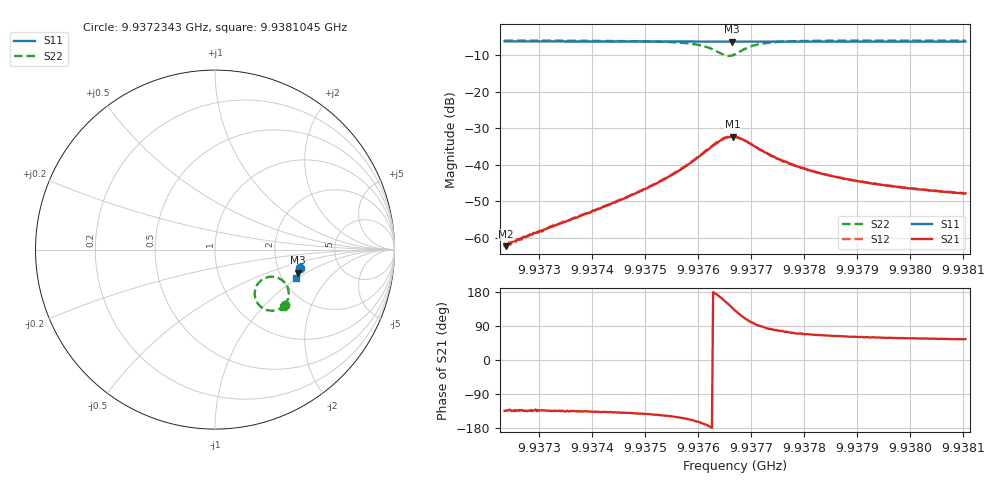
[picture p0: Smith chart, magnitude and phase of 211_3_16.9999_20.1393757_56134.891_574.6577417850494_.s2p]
#  HZ  S  RI  R  50.00
! Rohde & Schwarz Vector Network Analyzer
! Rohde-Schwarz,ZNB20-2Port,1311601062101988,3.16
! Created: UTC 3/20/2024, 11:01:34 PM
! freq[Hz]  re:S11  im:S11  re:S21  im:S21  re:S12  im:S12  re:S22  im:S22
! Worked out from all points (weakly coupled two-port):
!   401 points, 9.9372343 GHz to 9.9381045 GHz, reference 50 ohm
!   highest |S21| = -32.32 dB at 9.9376651 GHz (marker M1); lowest = -62.2 dB at 9.9372365 GHz (marker M2)
!   lowest |S11| = -6.4 dB at 9.9376629 GHz (marker M3), VSWR 2.84, Z = 126 - j42.1 ohm
!   |S11| at or under -10 dB: nowhere
!   |S22| runs from -10.3 to -6.0 dB; largest |S21 - S12| = 0.001
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9.93723432e9  0.4728 -0.1023  -0.000548 -0.000562  -0.000551 -0.000572  0.3927 -0.3061
9.9372365e9  0.4727 -0.1024  -0.000538 -0.000559  -0.000563 -0.00057  0.3922 -0.3064
9.93727348e9  0.4719 -0.105  -0.000701 -0.000751  -0.000724 -0.000745  0.3893 -0.3093
9.93738007e9  0.47 -0.1122  -0.00144 -0.00144  -0.00149 -0.00145  0.3775 -0.3192
9.93746274e9  0.4682 -0.1178  -0.00269 -0.00231  -0.00279 -0.00231  0.3628 -0.3287
9.93752583e9  0.4665 -0.1222  -0.00475 -0.00332  -0.00493 -0.00331  0.3418 -0.3373
9.93757151e9  0.4652 -0.1253  -0.00812 -0.00401  -0.00834 -0.004  0.3118 -0.3405
9.93761284e9  0.4634 -0.1281  -0.0148 -0.00258  -0.0151 -0.00242  0.2586 -0.3211
9.93762807e9  0.4625 -0.1287  -0.0183 0.000321  -0.0187 0.000685  0.234 -0.2931
9.9376433e9  0.4619 -0.1291  -0.0208 0.00597  -0.0211 0.00675  0.2213 -0.2438
9.93765418e9  0.4615 -0.1291  -0.0205 0.0115  -0.0205 0.0125  0.2326 -0.2007
9.93766288e9  0.4614 -0.1291  -0.0184 0.0156  -0.0181 0.0166  0.2571 -0.1717
9.93766505e9  0.4615 -0.1292  -0.0175 0.0167  -0.0172 0.0175  0.2648 -0.166
9.9376694e9  0.4616 -0.1292  -0.0156 0.0182  -0.0153 0.0188  0.2814 -0.1577
9.93768028e9  0.4618 -0.1297  -0.0108 0.0201  -0.0101 0.0205  0.3236 -0.1513
9.93769333e9  0.4622 -0.1303  -0.00526 0.0196  -0.00476 0.0198  0.3637 -0.1635
9.93771944e9  0.4625 -0.1325  0.000329 0.0156  0.000744 0.0158  0.4013 -0.2039
9.9377586e9  0.4619 -0.1354  0.00254 0.0109  0.00303 0.0112  0.4113 -0.2459
9.93781516e9  0.4606 -0.1395  0.00319 0.00756  0.00337 0.00755  0.4067 -0.2766
9.93788912e9  0.4589 -0.1446  0.00294 0.00542  0.00306 0.00547  0.3983 -0.2962
9.93796091e9  0.4571 -0.1493  0.00269 0.00436  0.00279 0.00437  0.3912 -0.3075
9.93810449e9  0.4533 -0.1587  0.00231 0.00335  0.00243 0.00328  0.3799 -0.3222
